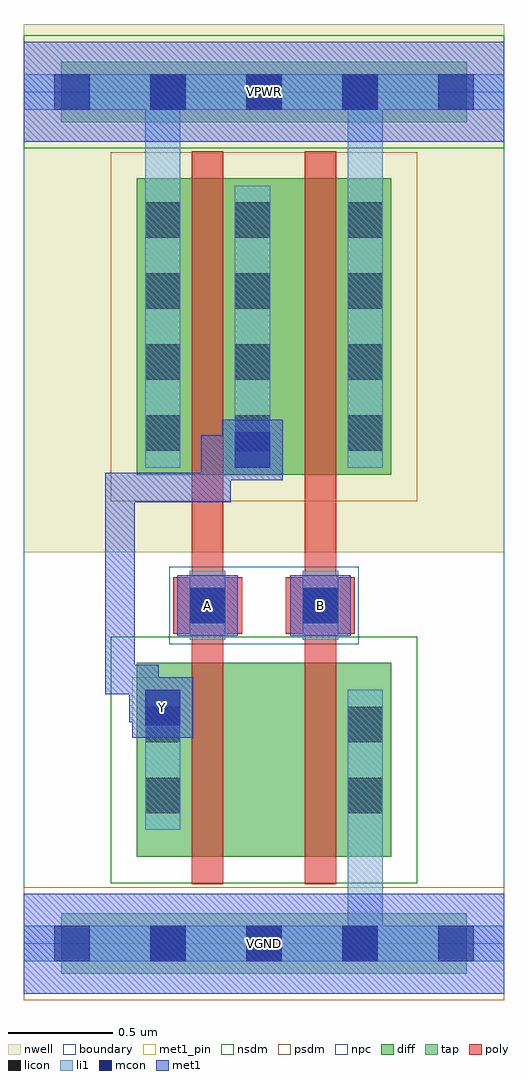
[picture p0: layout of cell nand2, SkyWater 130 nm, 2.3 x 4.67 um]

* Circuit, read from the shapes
.subckt nand2 A B VGND VPWR Y
XM1 n1 A Y VGND sky130_fd_pr__nfet_01v8 w=0.93 l=0.15
XM2 VGND B n1 VGND sky130_fd_pr__nfet_01v8 w=0.93 l=0.15
XM3 Y A VPWR VPWR sky130_fd_pr__pfet_01v8 w=1.42 l=0.15
XM4 VPWR B Y VPWR sky130_fd_pr__pfet_01v8 w=1.42 l=0.15
.ends

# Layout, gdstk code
import gdstk
lib = gdstk.Library(unit=1e-6, precision=1e-09)
def R(c, l, rs):  # rectangles x0, y0, x1, y1
    for r in rs: c.add(gdstk.rectangle(r[:2], r[2:], *l))
def A(c, l, x, y, w, h, nx, ny, dx, dy):  # array of equal rectangles
    R(c, l, [(x+i*dx, y+j*dy, x+i*dx+w, y+j*dy+h) for i in range(nx) for j in range(ny)])
nwell = (64, 20)
diff = (65, 20)
tap = (65, 44)
poly = (66, 20)
licon = (66, 44)
li1 = (67, 20)
mcon = (67, 44)
met1_pin = (68, 16)
met1 = (68, 20)
nsdm = (93, 44)
psdm = (94, 20)
npc = (95, 20)
boundary = (235, 4)

nand2 = lib.new_cell('nand2')
R(nand2, nwell, [(0,1.875,2.3,4.405)])
R(nand2, diff, [(0.54,0.415,1.76,1.345), (0.54,2.245,1.76,3.665)])
R(nand2, tap, [(0.18,-0.145,2.12,0.145), (0.18,3.935,2.12,4.225)])
R(nand2, poly, [(0.805,0.285,0.955,3.795), (1.345,0.285,1.495,3.795), (0.715,1.485,1.045,1.755), (1.255,1.485,1.585,1.755)])
A(nand2, licon, 0.605, -0.085, 0.17, 0.17, 3, 2, 0.46, 4.08)
A(nand2, licon, 0.58, 2.36, 0.17, 0.17, 1, 4, 0, 0.34)
A(nand2, licon, 1.01, 2.36, 0.17, 0.17, 1, 4, 0, 0.34)
A(nand2, licon, 1.55, 2.36, 0.17, 0.17, 1, 4, 0, 0.34)
R(nand2, licon, [(0.58,0.625,0.75,0.795), (1.55,0.625,1.72,0.795), (0.58,0.965,0.75,1.135), (1.55,0.965,1.72,1.135), (0.795,1.535,0.965,1.705), (1.335,1.535,1.505,1.705)])
R(nand2, li1, [(0,-0.085,2.3,0.085), (1.55,-0.085,1.72,1.215), (0.58,0.545,0.75,1.215), (1.55,0.545,1.72,1.215), (0.795,1.455,0.965,1.785), (1.335,1.455,1.505,1.785), (0.58,2.28,0.75,3.63), (0.58,2.28,0.75,4.165), (1.01,2.28,1.18,3.63), (1.55,2.28,1.72,3.63), (1.55,2.28,1.72,4.165), (0,3.995,2.3,4.165)])
A(nand2, mcon, 0.145, -0.085, 0.17, 0.17, 5, 2, 0.46, 4.08)
R(nand2, mcon, [(0.58,1.045,0.75,1.215), (0.795,1.535,0.965,1.705), (1.335,1.535,1.505,1.705), (1.01,2.28,1.18,2.45)])
R(nand2, met1_pin, [(0,-0.24,2.3,0.24), (0.52,0.985,0.81,1.275), (0.735,1.475,1.025,1.765), (1.275,1.475,1.565,1.765), (0,3.84,2.3,4.32)])
R(nand2, met1, [(0,-0.24,2.3,0.24), (0.52,0.985,0.81,1.275), (0.505,1.06,0.735,1.2), (0.505,1.06,0.645,1.335), (0.39,1.195,0.645,1.335), (0.39,1.195,0.53,2.255), (0.735,1.475,1.025,1.765), (1.275,1.475,1.565,1.765), (0.39,2.115,0.99,2.255), (0.85,2.115,0.99,2.435), (0.95,2.22,1.24,2.51), (0.85,2.295,1.165,2.435), (0,3.84,2.3,4.32)])
R(nand2, nsdm, [(0.415,0.29,1.885,1.47), (0,3.81,2.3,4.35)])
R(nand2, psdm, [(0,-0.27,2.3,0.27), (0.415,2.12,1.885,3.79)])
R(nand2, npc, [(0.695,1.435,1.605,1.805)])
R(nand2, boundary, [(0,0,2.3,4.08)])
nand2.add(gdstk.Label('A', (0.88,1.62), layer=68, texttype=5))
nand2.add(gdstk.Label('B', (1.42,1.62), layer=68, texttype=5))
nand2.add(gdstk.Label('Y', (0.665,1.13), layer=68, texttype=5))
nand2.add(gdstk.Label('VPWR', (1.15,4.08), layer=68, texttype=5))
nand2.add(gdstk.Label('VGND', (1.15,0), layer=68, texttype=5))
nand2.add(gdstk.Label('A', (0.88,1.62), layer=68, texttype=16))
nand2.add(gdstk.Label('B', (1.42,1.62), layer=68, texttype=16))
nand2.add(gdstk.Label('Y', (0.665,1.13), layer=68, texttype=16))
nand2.add(gdstk.Label('VPWR', (1.15,4.08), layer=68, texttype=16))
nand2.add(gdstk.Label('VGND', (1.15,0), layer=68, texttype=16))

lib.write_gds('nand2.gds')
